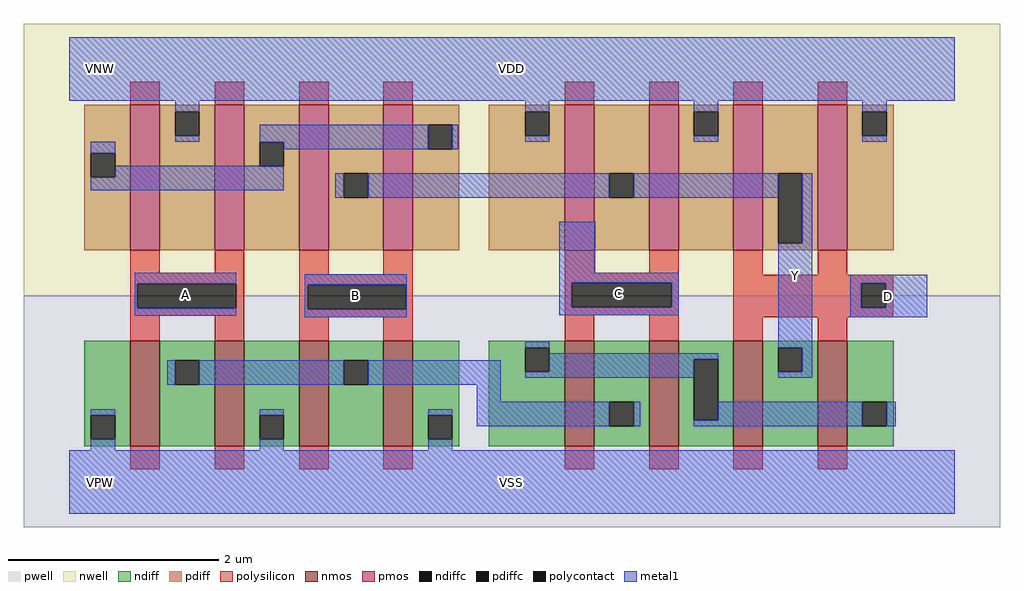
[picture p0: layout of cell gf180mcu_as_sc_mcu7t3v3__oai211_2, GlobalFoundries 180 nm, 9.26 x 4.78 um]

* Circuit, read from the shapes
.subckt gf180mcu_as_sc_mcu7t3v3__oai211_2 VDD VNW VPW VSS A B C Y D
XM1 n1 A VSS VPW nfet_03v3 w=1u l=0.28u m=2
XM2 n1 B VSS VPW nfet_03v3 w=1u l=0.28u m=2
XM3 n1 C n2 VPW nfet_03v3 w=1u l=0.28u m=2
XM4 Y D n2 VPW nfet_03v3 w=1u l=0.28u m=2
XM5 VDD A n3 VNW pfet_03v3 w=1.38u l=0.28u m=2
XM6 Y B n3 VNW pfet_03v3 w=1.38u l=0.28u m=2
XM7 Y C VDD VNW pfet_03v3 w=1.38u l=0.28u m=2
XM8 Y D VDD VNW pfet_03v3 w=1.38u l=0.28u m=2
.ends

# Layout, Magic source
magic
tech gf180mcuD
magscale 1 10
<< nwell >>
rect -86 354 1766 870
<< pwell >>
rect -86 -86 1766 354
<< nmos >>
rect 116 68 172 268
rect 276 68 332 268
rect 436 68 492 268
rect 596 68 652 268
rect 940 68 996 268
rect 1100 68 1156 268
rect 1260 68 1316 268
rect 1420 68 1476 268
<< pmos >>
rect 116 440 172 716
rect 276 440 332 716
rect 436 440 492 716
rect 596 440 652 716
rect 940 440 996 716
rect 1100 440 1156 716
rect 1260 440 1316 716
rect 1420 440 1476 716
<< ndiff >>
rect 28 127 116 268
rect 28 81 41 127
rect 87 81 116 127
rect 28 68 116 81
rect 172 231 276 268
rect 172 185 201 231
rect 247 185 276 231
rect 172 68 276 185
rect 332 127 436 268
rect 332 81 361 127
rect 407 81 436 127
rect 332 68 436 81
rect 492 231 596 268
rect 492 185 521 231
rect 567 185 596 231
rect 492 68 596 185
rect 652 127 740 268
rect 652 81 681 127
rect 727 81 740 127
rect 652 68 740 81
rect 796 255 940 268
rect 796 209 865 255
rect 911 209 940 255
rect 796 68 940 209
rect 996 152 1100 268
rect 996 106 1025 152
rect 1071 106 1100 152
rect 996 68 1100 106
rect 1156 233 1260 268
rect 1156 117 1185 233
rect 1231 117 1260 233
rect 1156 68 1260 117
rect 1316 255 1420 268
rect 1316 209 1345 255
rect 1391 209 1420 255
rect 1316 68 1420 209
rect 1476 152 1564 268
rect 1476 106 1505 152
rect 1551 106 1564 152
rect 1476 68 1564 106
<< pdiff >>
rect 28 624 116 716
rect 28 578 41 624
rect 87 578 116 624
rect 28 440 116 578
rect 172 703 276 716
rect 172 657 201 703
rect 247 657 276 703
rect 172 440 276 657
rect 332 645 436 716
rect 332 599 361 645
rect 407 599 436 645
rect 332 440 436 599
rect 492 586 596 716
rect 492 540 521 586
rect 567 540 596 586
rect 492 440 596 540
rect 652 678 740 716
rect 652 632 681 678
rect 727 632 740 678
rect 652 440 740 632
rect 796 703 940 716
rect 796 657 865 703
rect 911 657 940 703
rect 796 440 940 657
rect 996 586 1100 716
rect 996 540 1025 586
rect 1071 540 1100 586
rect 996 440 1100 540
rect 1156 703 1260 716
rect 1156 657 1185 703
rect 1231 657 1260 703
rect 1156 440 1260 657
rect 1316 586 1420 716
rect 1316 453 1345 586
rect 1391 453 1420 586
rect 1316 440 1420 453
rect 1476 703 1564 716
rect 1476 657 1505 703
rect 1551 657 1564 703
rect 1476 440 1564 657
<< ndiffc >>
rect 41 81 87 127
rect 201 185 247 231
rect 361 81 407 127
rect 521 185 567 231
rect 681 81 727 127
rect 865 209 911 255
rect 1025 106 1071 152
rect 1185 117 1231 233
rect 1345 209 1391 255
rect 1505 106 1551 152
<< pdiffc >>
rect 41 578 87 624
rect 201 657 247 703
rect 361 599 407 645
rect 521 540 567 586
rect 681 632 727 678
rect 865 657 911 703
rect 1025 540 1071 586
rect 1185 657 1231 703
rect 1345 453 1391 586
rect 1505 657 1551 703
<< polysilicon >>
rect 116 716 172 760
rect 276 716 332 760
rect 436 716 492 760
rect 596 716 652 760
rect 940 716 996 760
rect 1100 716 1156 760
rect 1260 716 1316 760
rect 1420 716 1476 760
rect 116 397 172 440
rect 276 397 332 440
rect 116 376 332 397
rect 116 330 129 376
rect 317 330 332 376
rect 116 316 332 330
rect 116 268 172 316
rect 276 268 332 316
rect 436 394 492 440
rect 596 394 652 440
rect 436 374 652 394
rect 436 328 452 374
rect 639 328 652 374
rect 436 313 652 328
rect 436 268 492 313
rect 596 268 652 313
rect 940 397 996 440
rect 1100 397 1156 440
rect 940 378 1156 397
rect 940 332 953 378
rect 1143 332 1156 378
rect 940 317 1156 332
rect 940 268 996 317
rect 1100 268 1156 317
rect 1260 393 1316 440
rect 1420 393 1476 440
rect 1260 377 1563 393
rect 1260 331 1503 377
rect 1549 331 1563 377
rect 1260 313 1563 331
rect 1260 268 1316 313
rect 1420 268 1476 313
rect 116 24 172 68
rect 276 24 332 68
rect 436 24 492 68
rect 596 24 652 68
rect 940 24 996 68
rect 1100 24 1156 68
rect 1260 24 1316 68
rect 1420 24 1476 68
<< polycontact >>
rect 129 330 317 376
rect 452 328 639 374
rect 953 332 1143 378
rect 1503 331 1549 377
<< metal1 >>
rect 0 724 1680 844
rect 201 703 247 724
rect 865 703 911 724
rect 201 646 247 657
rect 41 624 87 646
rect 361 645 681 678
rect 87 599 361 600
rect 407 632 681 645
rect 727 632 738 678
rect 865 646 911 657
rect 1185 703 1231 724
rect 1185 646 1231 657
rect 1505 703 1551 724
rect 1505 646 1551 657
rect 87 578 407 599
rect 41 554 407 578
rect 505 540 521 586
rect 567 540 1025 586
rect 1071 540 1345 586
rect 930 397 998 494
rect 1391 453 1410 586
rect 124 376 317 397
rect 124 330 129 376
rect 124 316 317 330
rect 447 374 640 394
rect 447 328 452 374
rect 639 328 640 374
rect 447 313 640 328
rect 930 378 1156 397
rect 930 332 953 378
rect 1143 332 1156 378
rect 930 317 1156 332
rect 865 255 911 266
rect 186 185 201 231
rect 247 185 521 231
rect 567 185 819 231
rect 1345 255 1410 453
rect 1482 377 1628 393
rect 1482 331 1503 377
rect 1549 331 1628 377
rect 1482 313 1628 331
rect 911 233 1231 244
rect 911 209 1185 233
rect 865 198 1185 209
rect 773 152 819 185
rect 41 127 87 138
rect 41 60 87 81
rect 361 127 407 138
rect 361 60 407 81
rect 681 127 727 138
rect 773 106 1025 152
rect 1071 106 1083 152
rect 1391 209 1410 255
rect 1345 198 1410 209
rect 1231 117 1505 152
rect 1185 106 1505 117
rect 1551 106 1568 152
rect 681 60 727 81
rect 0 -60 1680 60
<< labels >>
flabel metal1 s 0 724 1680 844 0 FreeSans 400 0 0 0 VDD
port 1 nsew power bidirectional abutment
flabel metal1 s 0 -60 1680 60 0 FreeSans 400 0 0 0 VSS
port 4 nsew ground bidirectional abutment
flabel nwell s 10 734 110 834 0 FreeSans 400 0 0 0 VNW
port 2 nsew power bidirectional
flabel pwell s 10 -50 110 50 0 FreeSans 400 0 0 0 VPW
port 3 nsew ground bidirectional
flabel metal1 124 316 317 397 0 FreeSans 200 0 0 0 A
port 5 nsew signal input
flabel metal1 447 313 640 394 0 FreeSans 200 0 0 0 B
port 6 nsew signal input
flabel metal1 930 317 1156 397 0 FreeSans 200 0 0 0 C
port 7 new signal input
flabel metal1 1345 198 1410 586 0 FreeSans 200 0 0 0 Y
port 8 nsew signal output
flabel metal1 1482 313 1628 393 0 FreeSans 200 0 0 0 D
port 9 nsew signal input
<< properties >>
string FIXED_BBOX 0 0 1680 784
string LEFclass CORE
string LEFsite unithd
string LEFsymmetry X Y
string MASKHINTS_NPLUS -16 -46 1696 354
string MASKHINTS_PPLUS -16 354 1696 830
<< end >>
